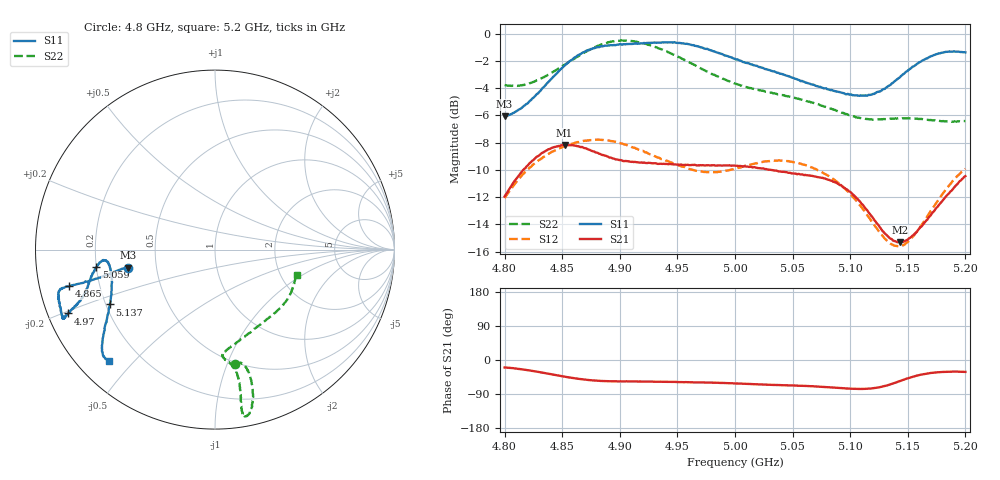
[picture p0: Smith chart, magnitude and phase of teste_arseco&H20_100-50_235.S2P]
! Network Analyzer HP8722D
! Hewlett-Packard
! Data name: Linha & Wilkinson
! Saver's name: Rodrigo Anjos
! Comments: Teste da utilização de aquisição
! continua pelo VNA HP8722D
! Time and date: 6/5/2025 14:31
!  Frequency  S11  S21  S12  S22
# HZ  S  MA R 50
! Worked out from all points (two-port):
!   401 points, 4.8 GHz to 5.2 GHz, reference 50 ohm
!   highest |S21| = -8.17 dB at 4.852 GHz (marker M1); lowest = -15.3 dB at 5.143 GHz (marker M2)
!   |S21| within 3 dB of the highest: 4.806 GHz to 5.093 GHz (286.7 MHz wide, 5.79 % of centre); 5.191527 GHz to end of sweep
!   lowest |S11| = -6.1 dB at 4.8 GHz (marker M3), VSWR 2.97, Z = 17 - j4.57 ohm
!   |S11| at or under -10 dB: nowhere
!   |S22| runs from -6.5 to -0.5 dB; largest |S21 - S12| = 0.62
!   S11 on the Smith chart (normalised r, x): 4.8 GHz: 0.34, -0.09; 4.865 GHz: 0.09, -0.12; 4.97 GHz: 0.06, -0.21; 5.059 GHz: 0.20, -0.07; 5.137 GHz: 0.22, -0.23; 5.2 GHz: 0.09, -0.42
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4.8e9  0.4968 -168.2  0.2523 -19.8  0.249 -141.0  0.648 -80.3
4.823e9  0.571 -167.5  0.3381 -28.2  0.3246 -143.9  0.6607 -76.0
4.852e9  0.7631 -165.9  0.3905 -44.0  0.3864 -149.6  0.7692 -74.6
4.865e9  0.8383 -166.0  0.385 -50.0  0.4012 -151.9  0.8332 -75.2
4.867e9  0.8489 -166.0  0.3841 -50.8  0.4025 -152.1  0.8424 -75.4
4.899e9  0.9126 -162.9  0.344 -56.6  0.3972 -156.7  0.9425 -79.1
4.914e9  0.9214 -159.9  0.3376 -56.5  0.3784 -157.2  0.9372 -80.3
4.934e9  0.9283 -156.5  0.3326 -57.5  0.3507 -155.7  0.8823 -80.5
4.97e9  0.8919 -156.5  0.3291 -59.3  0.3123 -147.0  0.7472 -79.6
5e9  0.8082 -159.1  0.328 -61.8  0.3197 -137.3  0.6565 -81.3
5.035e9  0.7246 -165.4  0.3142 -65.8  0.3422 -134.4  0.6033 -85.6
5.059e9  0.6678 -171.5  0.3036 -68.2  0.331 -136.1  0.5706 -84.3
5.067e9  0.651 -173.1  0.3006 -69.1  0.3227 -136.8  0.5587 -82.7
5.083e9  0.6208 -174.5  0.2888 -72.3  0.297 -138.2  0.5313 -76.8
5.101e9  0.5983 -172.1  0.2603 -75.8  0.2552 -138.8  0.5007 -66.5
5.116e9  0.5967 -165.7  0.2206 -75.9  0.2122 -135.5  0.4853 -55.8
5.134e9  0.646 -154.2  0.178 -65.2  0.1705 -120.7  0.4868 -43.3
5.137e9  0.6596 -152.4  0.1742 -62.4  0.1677 -116.8  0.488 -41.4
5.143e9  0.6912 -149.2  0.1715 -55.7  0.1658 -109.0  0.488 -38.0
5.154e9  0.7568 -144.5  0.1811 -44.5  0.1792 -95.0  0.4883 -32.3
5.174e9  0.8388 -138.5  0.2271 -32.8  0.2365 -80.4  0.4794 -24.0
5.2e9  0.8546 -133.6  0.3 -31.4  0.3194 -76.9  0.478 -17.5
